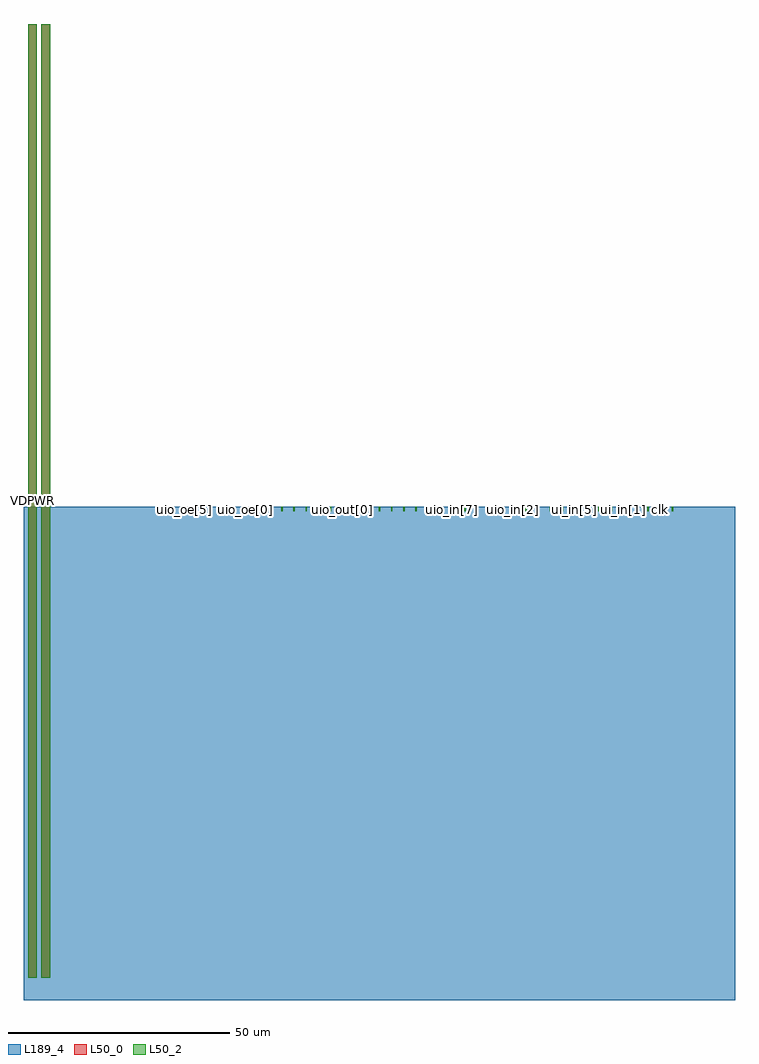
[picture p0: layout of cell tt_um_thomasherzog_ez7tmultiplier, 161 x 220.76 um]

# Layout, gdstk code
import gdstk
lib = gdstk.Library(unit=1e-6, precision=1e-09)
def R(c, l, rs):  # rectangles x0, y0, x1, y1
    for r in rs: c.add(gdstk.rectangle(r[:2], r[2:], *l))
def A(c, l, x, y, w, h, nx, ny, dx, dy):  # array of equal rectangles
    R(c, l, [(x+i*dx, y+j*dy, x+i*dx+w, y+j*dy+h) for i in range(nx) for j in range(ny)])
L50_0 = (50, 0)
L50_2 = (50, 2)
L189_4 = (189, 4)

tt_um_thomasherzog_ez7tm = lib.new_cell('tt_um_thomasherzog_ez7tmultiplier')
A(tt_um_thomasherzog_ez7tm, L50_0, 30.67, 110.52, 0.3, 1, 43, 1, 2.76, 0)
R(tt_um_thomasherzog_ez7tm, L50_0, [(1,5,3,220.76), (4,5,6,220.76)])
A(tt_um_thomasherzog_ez7tm, L50_2, 30.67, 110.52, 0.3, 1, 43, 1, 2.76, 0)
R(tt_um_thomasherzog_ez7tm, L50_2, [(1,5,3,220.76), (4,5,6,220.76)])
R(tt_um_thomasherzog_ez7tm, L189_4, [(0,0,161,111.52)])
tt_um_thomasherzog_ez7tm.add(gdstk.Label('clk', (143.98,111.02), layer=50, texttype=25))
tt_um_thomasherzog_ez7tm.add(gdstk.Label('ena', (146.74,111.02), layer=50, texttype=25))
tt_um_thomasherzog_ez7tm.add(gdstk.Label('rst_n', (141.22,111.02), layer=50, texttype=25))
tt_um_thomasherzog_ez7tm.add(gdstk.Label('ui_in[0]', (138.46,111.02), layer=50, texttype=25))
tt_um_thomasherzog_ez7tm.add(gdstk.Label('ui_in[1]', (135.7,111.02), layer=50, texttype=25))
tt_um_thomasherzog_ez7tm.add(gdstk.Label('ui_in[2]', (132.94,111.02), layer=50, texttype=25))
tt_um_thomasherzog_ez7tm.add(gdstk.Label('ui_in[3]', (130.18,111.02), layer=50, texttype=25))
tt_um_thomasherzog_ez7tm.add(gdstk.Label('ui_in[4]', (127.42,111.02), layer=50, texttype=25))
tt_um_thomasherzog_ez7tm.add(gdstk.Label('ui_in[5]', (124.66,111.02), layer=50, texttype=25))
tt_um_thomasherzog_ez7tm.add(gdstk.Label('ui_in[6]', (121.9,111.02), layer=50, texttype=25))
tt_um_thomasherzog_ez7tm.add(gdstk.Label('ui_in[7]', (119.14,111.02), layer=50, texttype=25))
tt_um_thomasherzog_ez7tm.add(gdstk.Label('uio_in[0]', (116.38,111.02), layer=50, texttype=25))
tt_um_thomasherzog_ez7tm.add(gdstk.Label('uio_in[1]', (113.62,111.02), layer=50, texttype=25))
tt_um_thomasherzog_ez7tm.add(gdstk.Label('uio_in[2]', (110.86,111.02), layer=50, texttype=25))
tt_um_thomasherzog_ez7tm.add(gdstk.Label('uio_in[3]', (108.1,111.02), layer=50, texttype=25))
tt_um_thomasherzog_ez7tm.add(gdstk.Label('uio_in[4]', (105.34,111.02), layer=50, texttype=25))
tt_um_thomasherzog_ez7tm.add(gdstk.Label('uio_in[5]', (102.58,111.02), layer=50, texttype=25))
tt_um_thomasherzog_ez7tm.add(gdstk.Label('uio_in[6]', (99.82,111.02), layer=50, texttype=25))
tt_um_thomasherzog_ez7tm.add(gdstk.Label('uio_in[7]', (97.06,111.02), layer=50, texttype=25))
tt_um_thomasherzog_ez7tm.add(gdstk.Label('uio_oe[0]', (50.14,111.02), layer=50, texttype=25))
tt_um_thomasherzog_ez7tm.add(gdstk.Label('uio_oe[1]', (47.38,111.02), layer=50, texttype=25))
tt_um_thomasherzog_ez7tm.add(gdstk.Label('uio_oe[2]', (44.62,111.02), layer=50, texttype=25))
tt_um_thomasherzog_ez7tm.add(gdstk.Label('uio_oe[3]', (41.86,111.02), layer=50, texttype=25))
tt_um_thomasherzog_ez7tm.add(gdstk.Label('uio_oe[4]', (39.1,111.02), layer=50, texttype=25))
tt_um_thomasherzog_ez7tm.add(gdstk.Label('uio_oe[5]', (36.34,111.02), layer=50, texttype=25))
tt_um_thomasherzog_ez7tm.add(gdstk.Label('uio_oe[6]', (33.58,111.02), layer=50, texttype=25))
tt_um_thomasherzog_ez7tm.add(gdstk.Label('uio_oe[7]', (30.82,111.02), layer=50, texttype=25))
tt_um_thomasherzog_ez7tm.add(gdstk.Label('uio_out[0]', (72.22,111.02), layer=50, texttype=25))
tt_um_thomasherzog_ez7tm.add(gdstk.Label('uio_out[1]', (69.46,111.02), layer=50, texttype=25))
tt_um_thomasherzog_ez7tm.add(gdstk.Label('uio_out[2]', (66.7,111.02), layer=50, texttype=25))
tt_um_thomasherzog_ez7tm.add(gdstk.Label('uio_out[3]', (63.94,111.02), layer=50, texttype=25))
tt_um_thomasherzog_ez7tm.add(gdstk.Label('uio_out[4]', (61.18,111.02), layer=50, texttype=25))
tt_um_thomasherzog_ez7tm.add(gdstk.Label('uio_out[5]', (58.42,111.02), layer=50, texttype=25))
tt_um_thomasherzog_ez7tm.add(gdstk.Label('uio_out[6]', (55.66,111.02), layer=50, texttype=25))
tt_um_thomasherzog_ez7tm.add(gdstk.Label('uio_out[7]', (52.9,111.02), layer=50, texttype=25))
tt_um_thomasherzog_ez7tm.add(gdstk.Label('uo_out[0]', (94.3,111.02), layer=50, texttype=25))
tt_um_thomasherzog_ez7tm.add(gdstk.Label('uo_out[1]', (91.54,111.02), layer=50, texttype=25))
tt_um_thomasherzog_ez7tm.add(gdstk.Label('uo_out[2]', (88.78,111.02), layer=50, texttype=25))
tt_um_thomasherzog_ez7tm.add(gdstk.Label('uo_out[3]', (86.02,111.02), layer=50, texttype=25))
tt_um_thomasherzog_ez7tm.add(gdstk.Label('uo_out[4]', (83.26,111.02), layer=50, texttype=25))
tt_um_thomasherzog_ez7tm.add(gdstk.Label('uo_out[5]', (80.5,111.02), layer=50, texttype=25))
tt_um_thomasherzog_ez7tm.add(gdstk.Label('uo_out[6]', (77.74,111.02), layer=50, texttype=25))
tt_um_thomasherzog_ez7tm.add(gdstk.Label('uo_out[7]', (74.98,111.02), layer=50, texttype=25))
tt_um_thomasherzog_ez7tm.add(gdstk.Label('VDPWR', (2,112.88), layer=50, texttype=25))
tt_um_thomasherzog_ez7tm.add(gdstk.Label('VGND', (5,112.88), layer=50, texttype=25))

lib.write_gds('tt_um_thomasherzog_ez7tmultiplier.gds')
